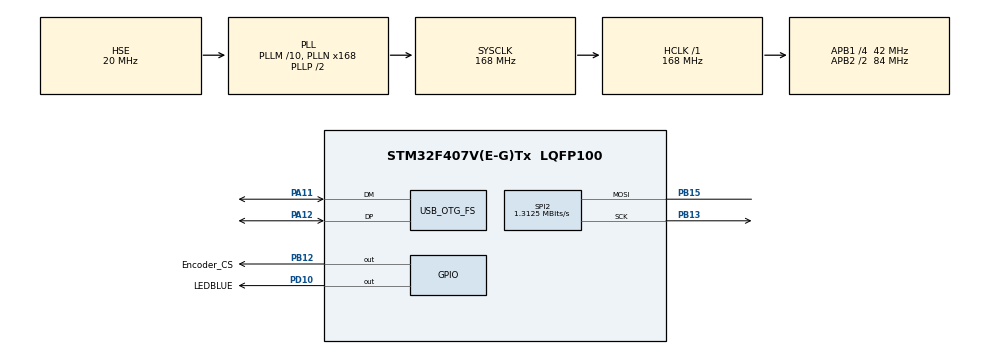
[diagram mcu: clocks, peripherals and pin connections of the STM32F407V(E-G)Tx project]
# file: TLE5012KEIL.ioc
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Mcu.Family=STM32F4
Mcu.Name=STM32F407V(E-G)Tx
Mcu.Package=LQFP100
NVIC.OTG_FS_IRQn=true\:0\:0\:false\:false\:true\:false\:true\:true
NVIC.PriorityGroup=NVIC_PRIORITYGROUP_4
PA11.Mode=Device_Only
PA11.Signal=USB_OTG_FS_DM
PA12.Mode=Device_Only
PA12.Signal=USB_OTG_FS_DP
PB12.GPIO_Label=Encoder_CS
PB12.PinState=GPIO_PIN_SET
PB12.Signal=GPIO_Output
PB13.Mode=Simplex_Bidirectional_Master
PB13.Signal=SPI2_SCK
PB15.Mode=Simplex_Bidirectional_Master
PB15.Signal=SPI2_MOSI
PD10.GPIO_Label=LEDBLUE
PD10.Signal=GPIO_Output
PH0-OSC_IN.Mode=HSE-External-Oscillator
PH0-OSC_IN.Signal=RCC_OSC_IN
PH1-OSC_OUT.Mode=HSE-External-Oscillator
PH1-OSC_OUT.Signal=RCC_OSC_OUT
ProjectManager.HeapSize=0x200
ProjectManager.StackSize=0x400
ProjectManager.TargetToolchain=MDK-ARM V5.32
RCC.48MHZClocksFreq_Value=48000000
RCC.AHBFreq_Value=168000000
RCC.APB1CLKDivider=RCC_HCLK_DIV4
RCC.APB1Freq_Value=42000000
RCC.APB1TimFreq_Value=84000000
RCC.APB2CLKDivider=RCC_HCLK_DIV2
RCC.APB2Freq_Value=84000000
RCC.APB2TimFreq_Value=168000000
RCC.CortexFreq_Value=168000000
RCC.HCLKFreq_Value=168000000
RCC.HSE_VALUE=20000000
RCC.HSI_VALUE=16000000
RCC.LSE_VALUE=32768
RCC.PLLM=10
RCC.PLLN=168
RCC.PLLQ=7
RCC.SYSCLKFreq_VALUE=168000000
RCC.SYSCLKSource=RCC_SYSCLKSOURCE_PLLCLK
RCC.VCOOutputFreq_Value=336000000
SPI2.BaudRatePrescaler=SPI_BAUDRATEPRESCALER_32
SPI2.CLKPhase=SPI_PHASE_2EDGE
SPI2.CalculateBaudRate=1.3125 MBits/s
SPI2.Direction=SPI_DIRECTION_1LINE
SPI2.Mode=SPI_MODE_MASTER
SPI2.VirtualType=VM_MASTER
USB_DEVICE.CLASS_NAME_FS=CDC
USB_DEVICE.VirtualMode-CDC_FS=Cdc
USB_DEVICE.VirtualModeFS=Cdc_FS
USB_OTG_FS.VirtualMode=Device_Only
VP_USB_DEVICE_VS_USB_DEVICE_CDC_FS.Mode=CDC_FS
board=custom

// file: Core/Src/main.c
/* USER CODE BEGIN Header */
/**
  ******************************************************************************
  * @file           : main.c
  * @brief          : Main program body
  ******************************************************************************
  * @attention
  *
  * Copyright (c) 2022 STMicroelectronics.
  * All rights reserved.
  *
  * This software is licensed under terms that can be found in the LICENSE file
  * in the root directory of this software component.
  * If no LICENSE file comes with this software, it is provided AS-IS.
  *
  ******************************************************************************
  */
/* USER CODE END Header */
#include "main.h"
#include "usb_device.h"

/* USER CODE BEGIN Includes */
#define READ_SENSOR                 0x8000    //!< \brief base command for read
#define SAFE_low                    0x0000    //!< \brief switch of safety word generation
#define SAFE_high                   0x0001    //!< \brief switch on safety word generation
#define UPD_low                     0x0000    //!< \brief read normal registers
#define UPD_high                    0x0400    //!< \brief read update buffer registers
#define REG_AVAL                    0x0020    //!< \brief AVAL angle value register
#define DELETE_BIT_15               0x7FFF    //!< \brief Value used to delete everything except the first 15 bits
#define CHANGE_UINT_TO_INT_15       0x8000    //!< \brief Value used to change unsigned 16bit integer into signed
#define CHECK_BIT_14                0x4000    //!< \brief
#define POW_2_15                    32768.0   //!< \brief values used to for final calculations of angle speed, revolutions, range and value
#define POW_2_7                     128.0     //!< \brief
#define ANGLE_360_VAL               360.0     //!< \brief
/* USER CODE END Includes */

SPI_HandleTypeDef hspi2;

void SystemClock_Config(void);
static void MX_GPIO_Init(void);
static void MX_SPI2_Init(void);
/* USER CODE BEGIN PFP */
double getAngleValue(void);
/* USER CODE END PFP */

int main(void)
{

  /* MCU Configuration--------------------------------------------------------*/

  /* Reset of all peripherals, Initializes the Flash interface and the Systick. */
  HAL_Init();

  /* Configure the system clock */
  SystemClock_Config();

  /* Initialize all configured peripherals */
  MX_GPIO_Init();
  MX_SPI2_Init();
  MX_USB_DEVICE_Init();

  /* Infinite loop */
  /* USER CODE BEGIN WHILE */
  while (1)
  {
//		HAL_GPIO_WritePin(GPIOD, GPIO_PIN_10, GPIO_PIN_RESET);
//		CDC_Transmit_FS("LED ON\n",8);
//		HAL_Delay(200);
// 		HAL_GPIO_WritePin(GPIOD, GPIO_PIN_10, GPIO_PIN_SET);
//		CDC_Transmit_FS("LED OFF\n",8);
//		HAL_Delay(200);
		char dataR[20];
		sprintf(dataR,"Angle : %0.2f\n",getAngleValue());
		CDC_Transmit_FS(dataR,20);
		HAL_Delay(100);
    /* USER CODE END WHILE */

  }
}

void SystemClock_Config(void)
{
  RCC_OscInitTypeDef RCC_OscInitStruct = {0};
  RCC_ClkInitTypeDef RCC_ClkInitStruct = {0};

  /** Configure the main internal regulator output voltage
  */
  __HAL_RCC_PWR_CLK_ENABLE();
  __HAL_PWR_VOLTAGESCALING_CONFIG(PWR_REGULATOR_VOLTAGE_SCALE1);

  /** Initializes the RCC Oscillators according to the specified parameters
  * in the RCC_OscInitTypeDef structure.
  */
  RCC_OscInitStruct.OscillatorType = RCC_OSCILLATORTYPE_HSE;
  RCC_OscInitStruct.HSEState = RCC_HSE_ON;
  RCC_OscInitStruct.PLL.PLLState = RCC_PLL_ON;
  RCC_OscInitStruct.PLL.PLLSource = RCC_PLLSOURCE_HSE;
  RCC_OscInitStruct.PLL.PLLM = 10;
  RCC_OscInitStruct.PLL.PLLN = 168;
  RCC_OscInitStruct.PLL.PLLP = RCC_PLLP_DIV2;
  RCC_OscInitStruct.PLL.PLLQ = 7;
  if (HAL_RCC_OscConfig(&RCC_OscInitStruct) != HAL_OK)
  {
    Error_Handler();
  }

  /** Initializes the CPU, AHB and APB buses clocks
  */
  RCC_ClkInitStruct.ClockType = RCC_CLOCKTYPE_HCLK|RCC_CLOCKTYPE_SYSCLK
                              |RCC_CLOCKTYPE_PCLK1|RCC_CLOCKTYPE_PCLK2;
  RCC_ClkInitStruct.SYSCLKSource = RCC_SYSCLKSOURCE_PLLCLK;
  RCC_ClkInitStruct.AHBCLKDivider = RCC_SYSCLK_DIV1;
  RCC_ClkInitStruct.APB1CLKDivider = RCC_HCLK_DIV4;
  RCC_ClkInitStruct.APB2CLKDivider = RCC_HCLK_DIV2;

  if (HAL_RCC_ClockConfig(&RCC_ClkInitStruct, FLASH_LATENCY_5) != HAL_OK)
  {
    Error_Handler();
  }
}

static void MX_SPI2_Init(void)
{

  /* SPI2 parameter configuration*/
  hspi2.Instance = SPI2;
  hspi2.Init.Mode = SPI_MODE_MASTER;
  hspi2.Init.Direction = SPI_DIRECTION_1LINE;
  hspi2.Init.DataSize = SPI_DATASIZE_8BIT;
  hspi2.Init.CLKPolarity = SPI_POLARITY_LOW;
  hspi2.Init.CLKPhase = SPI_PHASE_2EDGE;
  hspi2.Init.NSS = SPI_NSS_SOFT;
  hspi2.Init.BaudRatePrescaler = SPI_BAUDRATEPRESCALER_32;
  hspi2.Init.FirstBit = SPI_FIRSTBIT_MSB;
  hspi2.Init.TIMode = SPI_TIMODE_DISABLE;
  hspi2.Init.CRCCalculation = SPI_CRCCALCULATION_DISABLE;
  hspi2.Init.CRCPolynomial = 10;
  if (HAL_SPI_Init(&hspi2) != HAL_OK)
  {
    Error_Handler();
  }

}

static void MX_GPIO_Init(void)
{
  GPIO_InitTypeDef GPIO_InitStruct = {0};

  /* GPIO Ports Clock Enable */
  __HAL_RCC_GPIOH_CLK_ENABLE();
  __HAL_RCC_GPIOB_CLK_ENABLE();
  __HAL_RCC_GPIOD_CLK_ENABLE();
  __HAL_RCC_GPIOA_CLK_ENABLE();

  /*Configure GPIO pin Output Level */
  HAL_GPIO_WritePin(GPIOB, GPIO_PIN_12, GPIO_PIN_SET);

  /*Configure GPIO pin Output Level */
  HAL_GPIO_WritePin(GPIOD, GPIO_PIN_10, GPIO_PIN_RESET);

  /*Configure GPIO pin : PB12 */
  GPIO_InitStruct.Pin = GPIO_PIN_12;
  GPIO_InitStruct.Mode = GPIO_MODE_OUTPUT_PP;
  GPIO_InitStruct.Pull = GPIO_NOPULL;
  GPIO_InitStruct.Speed = GPIO_SPEED_FREQ_LOW;
  HAL_GPIO_Init(GPIOB, &GPIO_InitStruct);

  /*Configure GPIO pin : PD10 */
  GPIO_InitStruct.Pin = GPIO_PIN_10;
  GPIO_InitStruct.Mode = GPIO_MODE_OUTPUT_PP;
  GPIO_InitStruct.Pull = GPIO_NOPULL;
  GPIO_InitStruct.Speed = GPIO_SPEED_FREQ_LOW;
  HAL_GPIO_Init(GPIOD, &GPIO_InitStruct);

}

/* USER CODE BEGIN 4 */

double getAngleValue(void)
{
		double angleValue=0;

    uint16_t command = READ_SENSOR | REG_AVAL | UPD_low | SAFE_high;
    uint16_t rawData=0;
		uint8_t data[4];

		HAL_GPIO_WritePin(GPIOB, GPIO_PIN_12, GPIO_PIN_RESET);

		uint8_t txbuffer[2] = { (uint8_t)(command >> 8), (uint8_t)(command & 0x00FF) };

    HAL_SPI_Transmit(&hspi2, txbuffer, 2, 100);

    for(uint16_t x=0;x<50000;x++);
    HAL_SPI_Receive(&hspi2, data, 4, 100);

		rawData = (data[0] << 8) | data[1];
    HAL_GPIO_WritePin(GPIOB, GPIO_PIN_12, GPIO_PIN_SET);

    rawData = (rawData & (DELETE_BIT_15));
    //check if the value received is positive or negative
    if (rawData & CHECK_BIT_14)
    {
        rawData = rawData - CHANGE_UINT_TO_INT_15;
    }
    int16_t rawAnglevalue = rawData;
    angleValue = (ANGLE_360_VAL / POW_2_15) * ((double) rawAnglevalue);
		return angleValue;
}

/* USER CODE END 4 */

void Error_Handler(void)
{
  __disable_irq();
  while (1)
  {
  }
}
